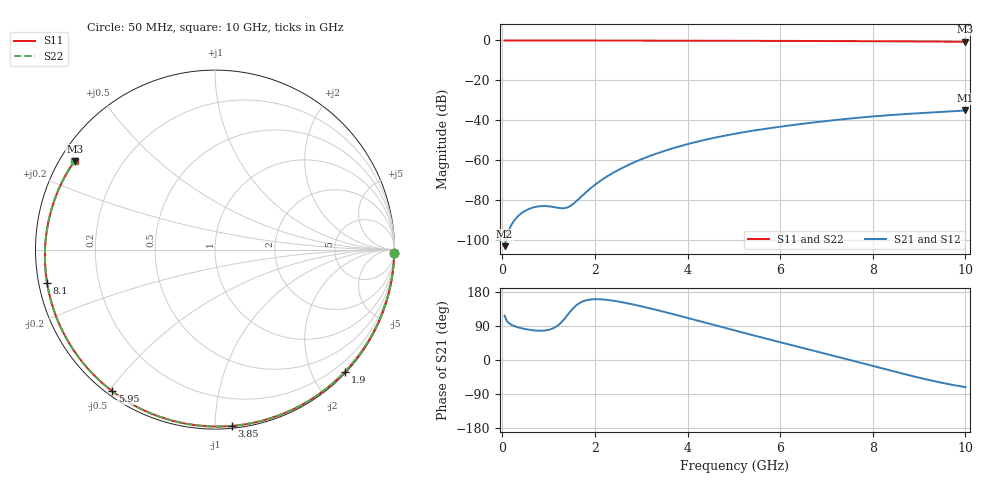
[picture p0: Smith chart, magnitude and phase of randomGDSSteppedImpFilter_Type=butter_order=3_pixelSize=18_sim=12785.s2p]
! freq	dB(S11)	phase(S11)	dB(S12)	phase(S12)
!  dB(S21)	phase(S21)	dB(S22)	phase(S22)
!S-par simulation data
#  GHz  S  DB  R 50
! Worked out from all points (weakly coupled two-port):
!   200 points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, 50 MHz to 10 GHz, reference 50 ohm
!   highest |S21| = -35.10 dB at 10 GHz (marker M1); lowest = -103.1 dB at 50 MHz (marker M2)
!   lowest |S11| = -0.7 dB at 10 GHz (marker M3), VSWR 25.67, Z = 2.11 + j14.5 ohm
!   |S11| at or under -10 dB: nowhere
!   |S22| runs from -0.7 to 0.0 dB; largest |S21 - S12| = 0
!   S11 on the Smith chart (normalised r, x): 50 MHz: 5, -96; 1.9 GHz: 0.02, -2.53; 3.85 GHz: 0.01, -1.10; 5.95 GHz: 0.02, -0.51; 8.1 GHz: 0.02, -0.10; 10 GHz: 0.04, +0.29
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0.05  -0.01 -1.2  -103.08 117.0  -103.08 117.0  -0.01 -1.2
0.8  -0.02 -18.4  -83.12 77.3  -83.12 77.3  -0.02 -18.4
1.6  -0.05 -36.5  -80.54 144.4  -80.54 144.4  -0.05 -36.5
1.65  -0.05 -37.6  -79.47 148.9  -79.47 148.9  -0.05 -37.6
1.75  -0.05 -39.8  -77.29 155.1  -77.29 155.1  -0.05 -39.8
1.9  -0.06 -43.2  -74.22 159.6  -74.22 159.6  -0.06 -43.1
2.2  -0.06 -49.7  -69.07 159.5  -69.07 159.5  -0.06 -49.7
2.55  -0.07 -57.3  -64.35 153.3  -64.35 153.3  -0.07 -57.3
2.95  -0.09 -65.8  -60.05 143.1  -60.05 143.1  -0.09 -65.8
3.4  -0.10 -75.3  -56.13 130.0  -56.13 130.0  -0.10 -75.2
3.85  -0.12 -84.5  -52.91 115.9  -52.91 115.9  -0.11 -84.5
4.45  -0.14 -96.6  -49.43 96.4  -49.43 96.4  -0.14 -96.5
5.05  -0.17 -108.5  -46.65 76.9  -46.65 76.9  -0.17 -108.4
5.95  -0.22 -126.0  -43.38 48.5  -43.38 48.5  -0.22 -125.9
6.7  -0.28 -140.5  -41.16 25.3  -41.16 25.3  -0.28 -140.5
7.4  -0.34 -154.4  -39.38 3.4  -39.38 3.4  -0.34 -154.3
8.1  -0.41 -168.7  -37.89 -18.9  -37.89 -18.9  -0.41 -168.6
8.35  -0.44 -173.9  -37.44 -26.9  -37.44 -26.9  -0.44 -173.9
8.8  -0.49 176.3  -36.74 -40.8  -36.74 -40.8  -0.49 176.4
9.2  -0.55 167.2  -36.21 -52.4  -36.21 -52.4  -0.55 167.3
9.6  -0.61 157.7  -35.69 -62.8  -35.69 -62.8  -0.60 157.8
10  -0.68 147.7  -35.10 -71.6  -35.10 -71.6  -0.68 147.8
